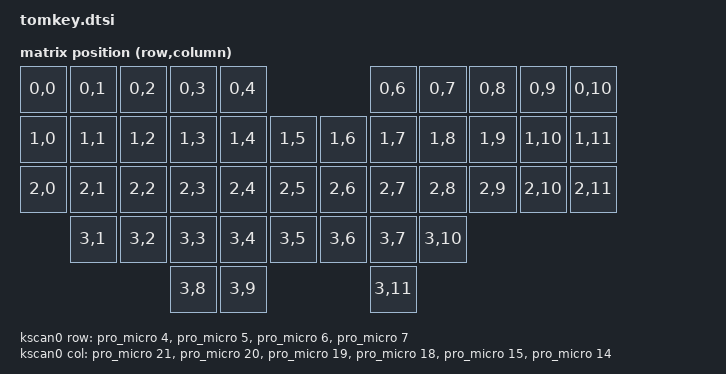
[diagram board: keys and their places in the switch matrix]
/*
 * Copyright (c) 2024
 * SPDX-License-Identifier: MIT
 */

#include <dt-bindings/zmk/matrix_transform.h>

/ {
    chosen {
        zmk,kscan = &kscan0;
        zmk,matrix_transform = &default_transform;
    };

    default_transform: keymap_transform_0 {
        compatible = "zmk,matrix-transform";
        columns = <12>;
        rows = <4>;
        
        // 左手配列
        // Q  W  E  R  T                    Y  U  I  O  P
        // Tab A  S  D  F  G               H  J  K  L  ;  -
        // Shift Z  X  C  V  B             N  M  ,  .  /  Shift
        //      Ctrl Alt Cmd Space/L1   Enter BS     Click
        //                Esc L2              TB
        
        map = <
            RC(0,0) RC(0,1) RC(0,2) RC(0,3) RC(0,4)                    RC(0,6) RC(0,7) RC(0,8) RC(0,9) RC(0,10)
            RC(1,0) RC(1,1) RC(1,2) RC(1,3) RC(1,4) RC(1,5)    RC(1,6) RC(1,7) RC(1,8) RC(1,9) RC(1,10) RC(1,11)
            RC(2,0) RC(2,1) RC(2,2) RC(2,3) RC(2,4) RC(2,5)    RC(2,6) RC(2,7) RC(2,8) RC(2,9) RC(2,10) RC(2,11)
                    RC(3,1) RC(3,2) RC(3,3) RC(3,4) RC(3,5)    RC(3,6) RC(3,7) RC(3,10)
                                    RC(3,8) RC(3,9)                    RC(3,11)
        >;
    };

    kscan0: kscan_0 {
        compatible = "zmk,kscan-gpio-matrix";
        label = "KSCAN";
        diode-direction = "col2row";

        col-gpios
            = <&pro_micro 21 GPIO_ACTIVE_HIGH>
            , <&pro_micro 20 GPIO_ACTIVE_HIGH>
            , <&pro_micro 19 GPIO_ACTIVE_HIGH>
            , <&pro_micro 18 GPIO_ACTIVE_HIGH>
            , <&pro_micro 15 GPIO_ACTIVE_HIGH>
            , <&pro_micro 14 GPIO_ACTIVE_HIGH>
            ;

        row-gpios
            = <&pro_micro 4 (GPIO_ACTIVE_HIGH | GPIO_PULL_DOWN)>
            , <&pro_micro 5 (GPIO_ACTIVE_HIGH | GPIO_PULL_DOWN)>
            , <&pro_micro 6 (GPIO_ACTIVE_HIGH | GPIO_PULL_DOWN)>
            , <&pro_micro 7 (GPIO_ACTIVE_HIGH | GPIO_PULL_DOWN)>
            ;
    };

    // トラックボールのマウス移動
    tmv: behavior_trackball_move {
        compatible = "zmk,behavior-mouse-move";
        label = "TRACKBALL_MOVE";
        #binding-cells = <0>;
        delay-ms = <0>;
        time-to-max-speed-ms = <300>;
        acceleration-exponent = <1>;
    };

    // トラックボールのスクロール  
    tsl: behavior_trackball_scroll {
        compatible = "zmk,behavior-mouse-scroll";
        label = "TRACKBALL_SCROLL";
        #binding-cells = <0>;
        delay-ms = <0>;
        time-to-max-speed-ms = <300>;
        acceleration-exponent = <1>;
    };
};
